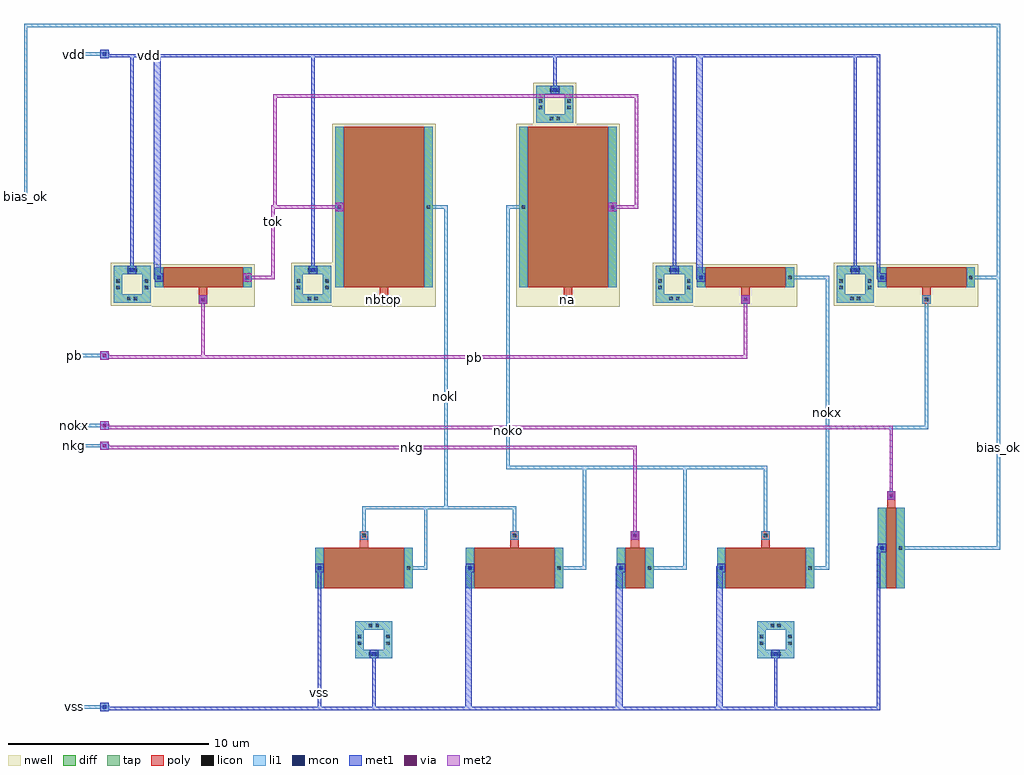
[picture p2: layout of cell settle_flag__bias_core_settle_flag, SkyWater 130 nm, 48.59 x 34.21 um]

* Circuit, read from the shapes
.subckt settle_flag__bias_core_settle_flag bias_ok na nbtop nkg nokl noko nokx pb tok vdd vss
XM1 nokl nokl vss vss sky130_fd_pr__nfet_01v8 w=2 l=4
XM2 noko nokl vss vss sky130_fd_pr__nfet_01v8 w=2 l=4
XM3 noko nkg vss vss sky130_fd_pr__nfet_01v8 w=2 l=1
XM4 nokx noko vss vss sky130_fd_pr__nfet_01v8 w=2 l=4
XM5 bias_ok nokx vss vss sky130_fd_pr__nfet_01v8 w=4 l=0.5
XM6 tok pb vdd vdd sky130_fd_pr__pfet_01v8 w=1 l=4
XM7 nokl nbtop tok vdd sky130_fd_pr__pfet_01v8 w=8 l=4
XM8 tok na noko vdd sky130_fd_pr__pfet_01v8 w=8 l=4
XM9 nokx pb vdd vdd sky130_fd_pr__pfet_01v8 w=1 l=4
XM10 bias_ok nokx vdd vdd sky130_fd_pr__pfet_01v8 w=1 l=4
.ends

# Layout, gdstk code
from math import pi, radians
import gdstk
lib = gdstk.Library(unit=1e-6, precision=1e-09)
def R(c, l, rs):  # rectangles x0, y0, x1, y1
    for r in rs: c.add(gdstk.rectangle(r[:2], r[2:], *l))
def P(c, l, *ps):  # polygons
    for p in ps: c.add(gdstk.Polygon(p, *l))
nwell = (64, 20)
diff = (65, 20)
tap = (65, 44)
poly = (66, 20)
licon = (66, 44)
li1 = (67, 20)
mcon = (67, 44)
met1 = (68, 20)
via = (68, 44)
met2 = (69, 20)

stub_bias_ok__promo_stub = lib.new_cell('stub_bias_ok__promo_stub_v')
R(stub_bias_ok__promo_stub, li1, [(0,0,0.17,1.5)])

stub_nkg__promo_stub_1 = lib.new_cell('stub_nkg__promo_stub$1')
R(stub_nkg__promo_stub_1, li1, [(0,0,1.5,0.17)])

stub_nokx__promo_stub = lib.new_cell('stub_nokx__promo_stub')
R(stub_nokx__promo_stub, li1, [(0,0,1.5,0.17)])

stub_pb__promo_stub_1 = lib.new_cell('stub_pb__promo_stub$1')
R(stub_pb__promo_stub_1, li1, [(0,0,1.5,0.17)])

stub_vss__promo_stub_3 = lib.new_cell('stub_vss__promo_stub$3')
R(stub_vss__promo_stub_3, li1, [(0,0,1.5,0.17)])

stub_vdd__promo_stub_2 = lib.new_cell('stub_vdd__promo_stub$2')
R(stub_vdd__promo_stub_2, li1, [(0,0,1.5,0.17)])

guard_ring_6_1 = lib.new_cell('guard_ring$6$1')
P(guard_ring_6_1, tap, [(0,0),(0,1.42),(0.42,1.42),(0.42,0.42),(1.42,0.42),(1.42,1.42),(0,1.42),(0,1.84),(1.84,1.84),(1.84,0)])
R(guard_ring_6_1, licon, [(0.67,0.125,0.84,0.295), (1,0.125,1.17,0.295), (0.125,0.67,0.295,0.84), (1.545,0.67,1.715,0.84), (0.125,1,0.295,1.17), (1.545,1,1.715,1.17), (0.67,1.545,0.84,1.715), (1,1.545,1.17,1.715)])
P(guard_ring_6_1, li1, [(0,0),(0,1.42),(0.42,1.42),(0.42,0.42),(1.42,0.42),(1.42,1.42),(0,1.42),(0,1.84),(1.84,1.84),(1.84,0)])

pst2__pst2 = lib.new_cell('pst2__pst2')
pst2__pst2.add(gdstk.Reference(guard_ring_6_1, (0,0)))

guard_ring_5_1 = lib.new_cell('guard_ring$5$1')
P(guard_ring_5_1, tap, [(0,0),(0,1.42),(0.42,1.42),(0.42,0.42),(1.42,0.42),(1.42,1.42),(0,1.42),(0,1.84),(1.84,1.84),(1.84,0)])
R(guard_ring_5_1, licon, [(0.67,0.125,0.84,0.295), (1,0.125,1.17,0.295), (0.125,0.67,0.295,0.84), (1.545,0.67,1.715,0.84), (0.125,1,0.295,1.17), (1.545,1,1.715,1.17), (0.67,1.545,0.84,1.715), (1,1.545,1.17,1.715)])
P(guard_ring_5_1, li1, [(0,0),(0,1.42),(0.42,1.42),(0.42,0.42),(1.42,0.42),(1.42,1.42),(0,1.42),(0,1.84),(1.84,1.84),(1.84,0)])

pst1__pst1 = lib.new_cell('pst1__pst1')
pst1__pst1.add(gdstk.Reference(guard_ring_5_1, (0,0)))

guard_ring_4_1 = lib.new_cell('guard_ring$4$1')
R(guard_ring_4_1, nwell, [(-0.15,-0.15,1.99,1.99)])
P(guard_ring_4_1, tap, [(0,0),(0,1.42),(0.42,1.42),(0.42,0.42),(1.42,0.42),(1.42,1.42),(0,1.42),(0,1.84),(1.84,1.84),(1.84,0)])
R(guard_ring_4_1, licon, [(0.67,0.125,0.84,0.295), (1,0.125,1.17,0.295), (0.125,0.67,0.295,0.84), (1.545,0.67,1.715,0.84), (0.125,1,0.295,1.17), (1.545,1,1.715,1.17), (0.67,1.545,0.84,1.715), (1,1.545,1.17,1.715)])
P(guard_ring_4_1, li1, [(0,0),(0,1.42),(0.42,1.42),(0.42,0.42),(1.42,0.42),(1.42,1.42),(0,1.42),(0,1.84),(1.84,1.84),(1.84,0)])

nwt_mo1p__nwt_mo1p = lib.new_cell('nwt_mo1p__nwt_mo1p')
nwt_mo1p__nwt_mo1p.add(gdstk.Reference(guard_ring_4_1, (0,0)))

guard_ring_3_1 = lib.new_cell('guard_ring$3$1')
R(guard_ring_3_1, nwell, [(-0.15,-0.15,1.99,1.99)])
P(guard_ring_3_1, tap, [(0,0),(0,1.42),(0.42,1.42),(0.42,0.42),(1.42,0.42),(1.42,1.42),(0,1.42),(0,1.84),(1.84,1.84),(1.84,0)])
R(guard_ring_3_1, licon, [(0.67,0.125,0.84,0.295), (1,0.125,1.17,0.295), (0.125,0.67,0.295,0.84), (1.545,0.67,1.715,0.84), (0.125,1,0.295,1.17), (1.545,1,1.715,1.17), (0.67,1.545,0.84,1.715), (1,1.545,1.17,1.715)])
P(guard_ring_3_1, li1, [(0,0),(0,1.42),(0.42,1.42),(0.42,0.42),(1.42,0.42),(1.42,1.42),(0,1.42),(0,1.84),(1.84,1.84),(1.84,0)])

nwt_mok2p__nwt_mok2p = lib.new_cell('nwt_mok2p__nwt_mok2p')
nwt_mok2p__nwt_mok2p.add(gdstk.Reference(guard_ring_3_1, (0,0)))

guard_ring_2_1 = lib.new_cell('guard_ring$2$1')
R(guard_ring_2_1, nwell, [(-0.15,-0.15,1.99,1.99)])
P(guard_ring_2_1, tap, [(0,0),(0,1.42),(0.42,1.42),(0.42,0.42),(1.42,0.42),(1.42,1.42),(0,1.42),(0,1.84),(1.84,1.84),(1.84,0)])
R(guard_ring_2_1, licon, [(0.67,0.125,0.84,0.295), (1,0.125,1.17,0.295), (0.125,0.67,0.295,0.84), (1.545,0.67,1.715,0.84), (0.125,1,0.295,1.17), (1.545,1,1.715,1.17), (0.67,1.545,0.84,1.715), (1,1.545,1.17,1.715)])
P(guard_ring_2_1, li1, [(0,0),(0,1.42),(0.42,1.42),(0.42,0.42),(1.42,0.42),(1.42,1.42),(0,1.42),(0,1.84),(1.84,1.84),(1.84,0)])

nwt_moka__nwt_moka = lib.new_cell('nwt_moka__nwt_moka')
nwt_moka__nwt_moka.add(gdstk.Reference(guard_ring_2_1, (0,0)))

guard_ring_1_2 = lib.new_cell('guard_ring$1$2')
R(guard_ring_1_2, nwell, [(-0.15,-0.15,1.99,1.99)])
P(guard_ring_1_2, tap, [(0,0),(0,1.42),(0.42,1.42),(0.42,0.42),(1.42,0.42),(1.42,1.42),(0,1.42),(0,1.84),(1.84,1.84),(1.84,0)])
R(guard_ring_1_2, licon, [(0.67,0.125,0.84,0.295), (1,0.125,1.17,0.295), (0.125,0.67,0.295,0.84), (1.545,0.67,1.715,0.84), (0.125,1,0.295,1.17), (1.545,1,1.715,1.17), (0.67,1.545,0.84,1.715), (1,1.545,1.17,1.715)])
P(guard_ring_1_2, li1, [(0,0),(0,1.42),(0.42,1.42),(0.42,0.42),(1.42,0.42),(1.42,1.42),(0,1.42),(0,1.84),(1.84,1.84),(1.84,0)])

nwt_mokb__nwt_mokb = lib.new_cell('nwt_mokb__nwt_mokb')
nwt_mokb__nwt_mokb.add(gdstk.Reference(guard_ring_1_2, (0,0)))

guard_ring_12 = lib.new_cell('guard_ring$12')
R(guard_ring_12, nwell, [(-0.15,-0.15,1.99,1.99)])
P(guard_ring_12, tap, [(0,0),(0,1.42),(0.42,1.42),(0.42,0.42),(1.42,0.42),(1.42,1.42),(0,1.42),(0,1.84),(1.84,1.84),(1.84,0)])
R(guard_ring_12, licon, [(0.67,0.125,0.84,0.295), (1,0.125,1.17,0.295), (0.125,0.67,0.295,0.84), (1.545,0.67,1.715,0.84), (0.125,1,0.295,1.17), (1.545,1,1.715,1.17), (0.67,1.545,0.84,1.715), (1,1.545,1.17,1.715)])
P(guard_ring_12, li1, [(0,0),(0,1.42),(0.42,1.42),(0.42,0.42),(1.42,0.42),(1.42,1.42),(0,1.42),(0,1.84),(1.84,1.84),(1.84,0)])

nwt_mpok__nwt_mpok = lib.new_cell('nwt_mpok__nwt_mpok')
nwt_mpok__nwt_mpok.add(gdstk.Reference(guard_ring_12, (0,0)))

mos_array_9_1 = lib.new_cell('mos_array$9$1')
R(mos_array_9_1, diff, [(0,0,1.34,4)])
R(mos_array_9_1, poly, [(0.42,0,0.92,4), (0.46,4,0.88,4.82)])
R(mos_array_9_1, licon, [(0.125,1.915,0.295,2.085), (1.045,1.915,1.215,2.085), (0.585,4.525,0.755,4.695)])
R(mos_array_9_1, li1, [(0,0,0.42,4), (0.92,0,1.34,4), (0.46,4.4,0.88,4.82)])

mo1n__mo1n_nfet = lib.new_cell('mo1n__mo1n_nfet')
mo1n__mo1n_nfet.add(gdstk.Reference(mos_array_9_1, (0,0)))

mos_array_8_2 = lib.new_cell('mos_array$8$2')
R(mos_array_8_2, diff, [(0,0,4.84,2)])
R(mos_array_8_2, poly, [(0.42,0,4.42,2), (2.21,2,2.63,2.82)])
R(mos_array_8_2, licon, [(0.125,0.915,0.295,1.085), (4.545,0.915,4.715,1.085), (2.335,2.525,2.505,2.695)])
R(mos_array_8_2, li1, [(0,0,0.42,2), (4.42,0,4.84,2), (2.21,2.4,2.63,2.82)])

mok2__mok2_nfet = lib.new_cell('mok2__mok2_nfet')
mok2__mok2_nfet.add(gdstk.Reference(mos_array_8_2, (0,0)))

mos_array_7_2 = lib.new_cell('mos_array$7$2')
R(mos_array_7_2, diff, [(0,0,1.84,2)])
R(mos_array_7_2, poly, [(0.42,0,1.42,2), (0.71,2,1.13,2.82)])
R(mos_array_7_2, licon, [(0.125,0.915,0.295,1.085), (1.545,0.915,1.715,1.085), (0.835,2.525,1.005,2.695)])
R(mos_array_7_2, li1, [(0,0,0.42,2), (1.42,0,1.84,2), (0.71,2.4,1.13,2.82)])

mokc__mokc_nfet = lib.new_cell('mokc__mokc_nfet')
mokc__mokc_nfet.add(gdstk.Reference(mos_array_7_2, (0,0)))

mos_array_6_2 = lib.new_cell('mos_array$6$2')
R(mos_array_6_2, diff, [(0,0,4.84,2)])
R(mos_array_6_2, poly, [(0.42,0,4.42,2), (2.21,2,2.63,2.82)])
R(mos_array_6_2, licon, [(0.125,0.915,0.295,1.085), (4.545,0.915,4.715,1.085), (2.335,2.525,2.505,2.695)])
R(mos_array_6_2, li1, [(0,0,0.42,2), (4.42,0,4.84,2), (2.21,2.4,2.63,2.82)])

mol2__mol2_nfet = lib.new_cell('mol2__mol2_nfet')
mol2__mol2_nfet.add(gdstk.Reference(mos_array_6_2, (0,0)))

mos_array_5_2 = lib.new_cell('mos_array$5$2')
R(mos_array_5_2, diff, [(0,0,4.84,2)])
R(mos_array_5_2, poly, [(0.42,0,4.42,2), (2.21,2,2.63,2.82)])
R(mos_array_5_2, licon, [(0.125,0.915,0.295,1.085), (4.545,0.915,4.715,1.085), (2.335,2.525,2.505,2.695)])
R(mos_array_5_2, li1, [(0,0,0.42,2), (4.42,0,4.84,2), (2.21,2.4,2.63,2.82)])

mol1__mol1_nfet = lib.new_cell('mol1__mol1_nfet')
mol1__mol1_nfet.add(gdstk.Reference(mos_array_5_2, (0,0)))

mos_array_4_2 = lib.new_cell('mos_array$4$2')
R(mos_array_4_2, nwell, [(-0.15,-0.15,4.99,1.97)])
R(mos_array_4_2, diff, [(0,0,4.84,1)])
R(mos_array_4_2, poly, [(0.42,0,4.42,1), (2.21,1,2.63,1.82)])
R(mos_array_4_2, licon, [(0.125,0.415,0.295,0.585), (4.545,0.415,4.715,0.585), (2.335,1.525,2.505,1.695)])
R(mos_array_4_2, li1, [(0,0,0.42,1), (4.42,0,4.84,1), (2.21,1.4,2.63,1.82)])

mo1p__mo1p_pfet = lib.new_cell('mo1p__mo1p_pfet')
mo1p__mo1p_pfet.add(gdstk.Reference(mos_array_4_2, (0,0)))

mos_array_3_2 = lib.new_cell('mos_array$3$2')
R(mos_array_3_2, nwell, [(-0.15,-0.15,4.99,1.97)])
R(mos_array_3_2, diff, [(0,0,4.84,1)])
R(mos_array_3_2, poly, [(0.42,0,4.42,1), (2.21,1,2.63,1.82)])
R(mos_array_3_2, licon, [(0.125,0.415,0.295,0.585), (4.545,0.415,4.715,0.585), (2.335,1.525,2.505,1.695)])
R(mos_array_3_2, li1, [(0,0,0.42,1), (4.42,0,4.84,1), (2.21,1.4,2.63,1.82)])

mok2p__mok2p_pfet = lib.new_cell('mok2p__mok2p_pfet')
mok2p__mok2p_pfet.add(gdstk.Reference(mos_array_3_2, (0,0)))

mos_array_2_2 = lib.new_cell('mos_array$2$2')
R(mos_array_2_2, nwell, [(-0.15,-0.15,4.99,8.97)])
R(mos_array_2_2, diff, [(0,0,4.84,8)])
R(mos_array_2_2, poly, [(0.42,0,4.42,8), (2.21,8,2.63,8.82)])
R(mos_array_2_2, licon, [(0.125,3.915,0.295,4.085), (4.545,3.915,4.715,4.085), (2.335,8.525,2.505,8.695)])
R(mos_array_2_2, li1, [(0,0,0.42,8), (4.42,0,4.84,8), (2.21,8.4,2.63,8.82)])

moka__moka_pfet = lib.new_cell('moka__moka_pfet')
moka__moka_pfet.add(gdstk.Reference(mos_array_2_2, (0,0)))

mos_array_1_2 = lib.new_cell('mos_array$1$2')
R(mos_array_1_2, nwell, [(-0.15,-0.15,4.99,8.97)])
R(mos_array_1_2, diff, [(0,0,4.84,8)])
R(mos_array_1_2, poly, [(0.42,0,4.42,8), (2.21,8,2.63,8.82)])
R(mos_array_1_2, licon, [(0.125,3.915,0.295,4.085), (4.545,3.915,4.715,4.085), (2.335,8.525,2.505,8.695)])
R(mos_array_1_2, li1, [(0,0,0.42,8), (4.42,0,4.84,8), (2.21,8.4,2.63,8.82)])

mokb__mokb_pfet = lib.new_cell('mokb__mokb_pfet')
mokb__mokb_pfet.add(gdstk.Reference(mos_array_1_2, (0,0)))

mos_array_16 = lib.new_cell('mos_array$16')
R(mos_array_16, nwell, [(-0.15,-0.15,4.99,1.97)])
R(mos_array_16, diff, [(0,0,4.84,1)])
R(mos_array_16, poly, [(0.42,0,4.42,1), (2.21,1,2.63,1.82)])
R(mos_array_16, licon, [(0.125,0.415,0.295,0.585), (4.545,0.415,4.715,0.585), (2.335,1.525,2.505,1.695)])
R(mos_array_16, li1, [(0,0,0.42,1), (4.42,0,4.84,1), (2.21,1.4,2.63,1.82)])

mpok__mpok_pfet = lib.new_cell('mpok__mpok_pfet')
mpok__mpok_pfet.add(gdstk.Reference(mos_array_16, (0,0)))

settle_flag__bias_core_s = lib.new_cell('settle_flag__bias_core_settle_flag')
R(settle_flag__bias_core_s, li1, [(-2.71,-6.125,-2.29,-5.705), (10.71,-3.5,11.13,-3.08), (10.71,-3.5,11.13,-3.08), (30.71,-3.5,31.13,-3.08), (30.71,-3.5,31.13,-3.08), (8,0.79,8.42,1.21), (8,0.79,8.42,1.21), (15.5,0.79,15.92,1.21), (15.5,0.79,15.92,1.21), (23,0.79,23.42,1.21), (23,0.79,23.42,1.21), (28,0.79,28.42,1.21), (28,0.79,28.42,1.21), (36,1.79,36.42,2.21), (23.71,2.4,24.13,2.82), (10.21,2.61,10.63,2.78), (10.21,2.61,10.63,2.78), (17.71,2.61,18.13,2.78), (17.71,2.61,18.13,2.78), (30.21,2.61,30.63,2.78), (36.46,4.4,36.88,4.82), (36.46,4.61,36.88,4.78), (36.46,4.61,36.88,4.78), (-2.71,6.875,-2.29,7.295), (-2.71,7.875,-2.29,8.295), (-2.71,11.375,-2.29,11.795), (2.21,14.15,2.63,14.57), (2.21,14.15,2.63,14.57), (29.21,14.15,29.63,14.57), (38.21,14.19,38.63,14.36), (0,15.26,0.42,15.68), (0,15.26,0.42,15.68), (4.42,15.26,4.84,15.68), (27,15.26,27.42,15.68), (27,15.26,27.42,15.68), (36,15.26,36.42,15.68), (-1.33,15.62,-0.91,16.04), (-1.33,15.62,-0.91,16.04), (7.67,15.62,8.09,16.04), (7.67,15.62,8.09,16.04), (25.67,15.62,26.09,16.04), (25.67,15.62,26.09,16.04), (34.67,15.62,35.09,16.04), (34.67,15.62,35.09,16.04), (9,18.76,9.42,19.18), (9,18.76,9.42,19.18), (22.58,18.76,23,19.18), (19.72,24.59,20.14,25.01), (19.72,24.59,20.14,25.01), (-2.71,26.375,-2.29,26.795)])
R(settle_flag__bias_core_s, mcon, [(-2.585,-6,-2.415,-5.83), (10.835,-3.375,11.005,-3.205), (10.835,-3.375,11.005,-3.205), (30.835,-3.375,31.005,-3.205), (30.835,-3.375,31.005,-3.205), (8.125,0.915,8.295,1.085), (8.125,0.915,8.295,1.085), (15.625,0.915,15.795,1.085), (15.625,0.915,15.795,1.085), (23.125,0.915,23.295,1.085), (23.125,0.915,23.295,1.085), (28.125,0.915,28.295,1.085), (28.125,0.915,28.295,1.085), (36.125,1.915,36.295,2.085), (23.835,2.525,24.005,2.695), (36.585,4.525,36.755,4.695), (-2.585,7,-2.415,7.17), (-2.585,8,-2.415,8.17), (-2.585,11.5,-2.415,11.67), (2.335,14.275,2.505,14.445), (2.335,14.275,2.505,14.445), (29.335,14.275,29.505,14.445), (0.125,15.385,0.295,15.555), (0.125,15.385,0.295,15.555), (4.545,15.385,4.715,15.555), (27.125,15.385,27.295,15.555), (27.125,15.385,27.295,15.555), (36.125,15.385,36.295,15.555), (-1.205,15.745,-1.035,15.915), (-1.205,15.745,-1.035,15.915), (7.795,15.745,7.965,15.915), (7.795,15.745,7.965,15.915), (25.795,15.745,25.965,15.915), (25.795,15.745,25.965,15.915), (34.795,15.745,34.965,15.915), (34.795,15.745,34.965,15.915), (9.125,18.885,9.295,19.055), (9.125,18.885,9.295,19.055), (22.705,18.885,22.875,19.055), (19.845,24.715,20.015,24.885), (19.845,24.715,20.015,24.885), (-2.585,26.5,-2.415,26.67)])
R(settle_flag__bias_core_s, met1, [(-2.71,-6.125,-2.29,-5.705), (10.71,-3.5,11.13,-3.08), (10.71,-3.5,11.13,-3.08), (30.71,-3.5,31.13,-3.08), (30.71,-3.5,31.13,-3.08), (8,0.79,8.42,1.21), (8,0.79,8.42,1.21), (15.5,0.79,15.92,1.21), (15.5,0.79,15.92,1.21), (23,0.79,23.42,1.21), (23,0.79,23.42,1.21), (28,0.79,28.42,1.21), (28,0.79,28.42,1.21), (36,1.79,36.42,2.21), (23.71,2.4,24.13,2.82), (23.71,2.4,24.13,2.82), (36.46,4.4,36.88,4.82), (36.46,4.4,36.88,4.82), (-2.71,6.875,-2.29,7.295), (-2.71,6.875,-2.29,7.295), (-2.71,7.875,-2.29,8.295), (-2.71,7.875,-2.29,8.295), (-2.71,11.375,-2.29,11.795), (-2.71,11.375,-2.29,11.795), (2.21,14.15,2.63,14.57), (2.21,14.15,2.63,14.57), (2.21,14.15,2.63,14.57), (2.21,14.15,2.63,14.57), (29.21,14.15,29.63,14.57), (29.21,14.15,29.63,14.57), (0,15.26,0.42,15.68), (0,15.26,0.42,15.68), (4.42,15.26,4.84,15.68), (4.42,15.26,4.84,15.68), (27,15.26,27.42,15.68), (27,15.26,27.42,15.68), (36,15.26,36.42,15.68), (-1.33,15.62,-0.91,16.04), (-1.33,15.62,-0.91,16.04), (7.67,15.62,8.09,16.04), (7.67,15.62,8.09,16.04), (25.67,15.62,26.09,16.04), (25.67,15.62,26.09,16.04), (34.67,15.62,35.09,16.04), (34.67,15.62,35.09,16.04), (9,18.76,9.42,19.18), (9,18.76,9.42,19.18), (9,18.76,9.42,19.18), (9,18.76,9.42,19.18), (22.58,18.76,23,19.18), (22.58,18.76,23,19.18), (19.72,24.59,20.14,25.01), (19.72,24.59,20.14,25.01), (-2.71,26.375,-2.29,26.795)])
R(settle_flag__bias_core_s, via, [(23.845,2.535,23.995,2.685), (36.595,4.535,36.745,4.685), (-2.575,7.01,-2.425,7.16), (-2.575,8.01,-2.425,8.16), (-2.575,11.51,-2.425,11.66), (2.345,14.285,2.495,14.435), (2.345,14.285,2.495,14.435), (29.345,14.285,29.495,14.435), (4.555,15.395,4.705,15.545), (9.135,18.895,9.285,19.045), (9.135,18.895,9.285,19.045), (22.715,18.895,22.865,19.045)])
R(settle_flag__bias_core_s, met2, [(23.71,2.4,24.13,2.82), (36.46,4.4,36.88,4.82), (-2.71,6.875,-2.29,7.295), (-2.71,7.875,-2.29,8.295), (-2.71,11.375,-2.29,11.795), (2.21,14.15,2.63,14.57), (2.21,14.15,2.63,14.57), (29.21,14.15,29.63,14.57), (4.42,15.26,4.84,15.68), (9,18.76,9.42,19.18), (9,18.76,9.42,19.18), (22.58,18.76,23,19.18)])
settle_flag__bias_core_s.add(gdstk.FlexPath([(13.63,18.97),(14.5,18.97),(14.5,4),(17.92,4),(17.92,2.61)], 0.17, ends="flush", simple_path=True, layer=67, datatype=20))  # li1
settle_flag__bias_core_s.add(gdstk.FlexPath([(17.92,2.61),(17.92,4),(10.42,4),(10.42,2.61)], 0.17, ends="flush", simple_path=True, layer=67, datatype=20))  # li1
settle_flag__bias_core_s.add(gdstk.FlexPath([(10.42,2.61),(10.42,4),(13.5,4),(13.5,1),(12.63,1)], 0.17, ends="flush", simple_path=True, layer=67, datatype=20))  # li1
settle_flag__bias_core_s.add(gdstk.FlexPath([(18.37,18.97),(17.6,18.97),(17.6,6),(21.4,6),(21.4,1),(20.13,1)], 0.17, ends="flush", simple_path=True, layer=67, datatype=20))  # li1
settle_flag__bias_core_s.add(gdstk.FlexPath([(20.13,1),(21.4,1),(21.4,6),(26.4,6),(26.4,1),(24.63,1)], 0.17, ends="flush", simple_path=True, layer=67, datatype=20))  # li1
settle_flag__bias_core_s.add(gdstk.FlexPath([(24.63,1),(26.4,1),(26.4,6),(30.42,6),(30.42,2.61)], 0.17, ends="flush", simple_path=True, layer=67, datatype=20))  # li1
settle_flag__bias_core_s.add(gdstk.FlexPath([(31.63,15.47),(33.5,15.47),(33.5,1),(32.63,1)], 0.17, ends="flush", simple_path=True, layer=67, datatype=20))  # li1
settle_flag__bias_core_s.add(gdstk.FlexPath([(32.63,1),(33.5,1),(33.5,8),(36.67,8),(36.67,4.61)], 0.17, ends="flush", simple_path=True, layer=67, datatype=20))  # li1
settle_flag__bias_core_s.add(gdstk.FlexPath([(36.67,4.61),(36.67,8),(38.42,8),(38.42,14.36)], 0.17, ends="flush", simple_path=True, layer=67, datatype=20))  # li1
settle_flag__bias_core_s.add(gdstk.FlexPath([(40.63,15.47),(42,15.47),(42,2),(37.13,2)], 0.17, ends="flush", simple_path=True, layer=67, datatype=20))  # li1
settle_flag__bias_core_s.add(gdstk.FlexPath([(40.63,15.47),(42,15.47),(42,28),(-6.415,28),(-6.415,21)], 0.17, ends="flush", simple_path=True, layer=67, datatype=20))  # li1
settle_flag__bias_core_s.add(gdstk.FlexPath([(-1.12,15.83),(-1.12,26.5),(0.04,26.5),(0.04,15.47),(0.21,15.47)], 0.17, ends="flush", simple_path=True, layer=68, datatype=20))  # met1
settle_flag__bias_core_s.add(gdstk.FlexPath([(0.21,15.47),(0.21,26.5),(7.88,26.5),(7.88,15.83)], 0.17, ends="flush", simple_path=True, layer=68, datatype=20))  # met1
settle_flag__bias_core_s.add(gdstk.FlexPath([(7.88,15.83),(7.88,26.5),(19.93,26.5),(19.93,24.8)], 0.17, ends="flush", simple_path=True, layer=68, datatype=20))  # met1
settle_flag__bias_core_s.add(gdstk.FlexPath([(19.93,24.8),(19.93,26.5),(25.88,26.5),(25.88,15.83)], 0.17, ends="flush", simple_path=True, layer=68, datatype=20))  # met1
settle_flag__bias_core_s.add(gdstk.FlexPath([(25.88,15.83),(25.88,26.5),(27.04,26.5),(27.04,15.47),(27.21,15.47)], 0.17, ends="flush", simple_path=True, layer=68, datatype=20))  # met1
settle_flag__bias_core_s.add(gdstk.FlexPath([(27.21,15.47),(27.21,26.5),(34.88,26.5),(34.88,15.83)], 0.17, ends="flush", simple_path=True, layer=68, datatype=20))  # met1
settle_flag__bias_core_s.add(gdstk.FlexPath([(34.88,15.83),(34.88,26.5),(36.04,26.5),(36.04,15.47),(36.21,15.47)], 0.17, ends="flush", simple_path=True, layer=68, datatype=20))  # met1
settle_flag__bias_core_s.add(gdstk.FlexPath([(-1.12,15.83),(-1.12,26.5),(-2.33,26.5),(-2.33,26.585),(-2.5,26.585)], 0.17, ends="flush", simple_path=True, layer=68, datatype=20))  # met1
settle_flag__bias_core_s.add(gdstk.FlexPath([(8.21,1),(8.21,-6),(10.92,-6),(10.92,-3.29)], 0.17, ends="flush", simple_path=True, layer=68, datatype=20))  # met1
settle_flag__bias_core_s.add(gdstk.FlexPath([(10.92,-3.29),(10.92,-6),(15.54,-6),(15.54,1),(15.71,1)], 0.17, ends="flush", simple_path=True, layer=68, datatype=20))  # met1
settle_flag__bias_core_s.add(gdstk.FlexPath([(15.71,1),(15.71,-6),(23.04,-6),(23.04,1),(23.21,1)], 0.17, ends="flush", simple_path=True, layer=68, datatype=20))  # met1
settle_flag__bias_core_s.add(gdstk.FlexPath([(23.21,1),(23.21,-6),(28.04,-6),(28.04,1),(28.21,1)], 0.17, ends="flush", simple_path=True, layer=68, datatype=20))  # met1
settle_flag__bias_core_s.add(gdstk.FlexPath([(28.21,1),(28.21,-6),(30.92,-6),(30.92,-3.29)], 0.17, ends="flush", simple_path=True, layer=68, datatype=20))  # met1
settle_flag__bias_core_s.add(gdstk.FlexPath([(30.92,-3.29),(30.92,-6),(36.04,-6),(36.04,2),(36.21,2)], 0.17, ends="flush", simple_path=True, layer=68, datatype=20))  # met1
settle_flag__bias_core_s.add(gdstk.FlexPath([(8.21,1),(8.21,-6),(-2.33,-6),(-2.33,-5.915),(-2.5,-5.915)], 0.17, ends="flush", simple_path=True, layer=68, datatype=20))  # met1
settle_flag__bias_core_s.add(gdstk.FlexPath([(4.63,15.47),(5.9,15.47),(5.9,18.97),(9.21,18.97)], 0.17, ends="flush", simple_path=True, layer=69, datatype=20))  # met2
settle_flag__bias_core_s.add(gdstk.FlexPath([(9.21,18.97),(6,18.97),(6,24.5),(24,24.5),(24,18.97),(22.79,18.97)], 0.17, ends="flush", simple_path=True, layer=69, datatype=20))  # met2
settle_flag__bias_core_s.add(gdstk.FlexPath([(2.42,14.36),(2.42,11.5),(29.42,11.5),(29.42,14.36)], 0.17, ends="flush", simple_path=True, layer=69, datatype=20))  # met2
settle_flag__bias_core_s.add(gdstk.FlexPath([(2.42,14.36),(2.42,11.5),(-2.33,11.5),(-2.33,11.585),(-2.5,11.585)], 0.17, ends="flush", simple_path=True, layer=69, datatype=20))  # met2
settle_flag__bias_core_s.add(gdstk.FlexPath([(36.67,4.61),(36.67,8),(-2.33,8),(-2.33,8.085),(-2.5,8.085)], 0.17, ends="flush", simple_path=True, layer=69, datatype=20))  # met2
settle_flag__bias_core_s.add(gdstk.FlexPath([(23.92,2.61),(23.92,7),(-2.33,7),(-2.33,7.085),(-2.5,7.085)], 0.17, ends="flush", simple_path=True, layer=69, datatype=20))  # met2
settle_flag__bias_core_s.add(gdstk.Reference(stub_bias_ok__promo_stub, (-6.5,19.5)))
settle_flag__bias_core_s.add(gdstk.Reference(stub_nkg__promo_stub_1, (-4,7)))
settle_flag__bias_core_s.add(gdstk.Reference(stub_nokx__promo_stub, (-4,8)))
settle_flag__bias_core_s.add(gdstk.Reference(stub_pb__promo_stub_1, (-4,11.5)))
settle_flag__bias_core_s.add(gdstk.Reference(stub_vss__promo_stub_3, (-4,-6)))
settle_flag__bias_core_s.add(gdstk.Reference(stub_vdd__promo_stub_2, (-4,26.5)))
settle_flag__bias_core_s.add(gdstk.Reference(pst2__pst2, (30,-3.5)))
settle_flag__bias_core_s.add(gdstk.Reference(pst1__pst1, (10,-3.5)))
settle_flag__bias_core_s.add(gdstk.Reference(nwt_mo1p__nwt_mo1p, (33.96,14.2)))
settle_flag__bias_core_s.add(gdstk.Reference(nwt_mok2p__nwt_mok2p, (24.96,14.2)))
settle_flag__bias_core_s.add(gdstk.Reference(nwt_moka__nwt_moka, (19.01,23.17)))
settle_flag__bias_core_s.add(gdstk.Reference(nwt_mokb__nwt_mokb, (6.96,14.2)))
settle_flag__bias_core_s.add(gdstk.Reference(nwt_mpok__nwt_mpok, (-2.04,14.2)))
settle_flag__bias_core_s.add(gdstk.Reference(mo1n__mo1n_nfet, (36,0)))
settle_flag__bias_core_s.add(gdstk.Reference(mok2__mok2_nfet, (28,0)))
settle_flag__bias_core_s.add(gdstk.Reference(mokc__mokc_nfet, (23,0)))
settle_flag__bias_core_s.add(gdstk.Reference(mol2__mol2_nfet, (15.5,0)))
settle_flag__bias_core_s.add(gdstk.Reference(mol1__mol1_nfet, (8,0)))
settle_flag__bias_core_s.add(gdstk.Reference(mo1p__mo1p_pfet, (36,15.97), x_reflection=True))
settle_flag__bias_core_s.add(gdstk.Reference(mok2p__mok2p_pfet, (27,15.97), x_reflection=True))
settle_flag__bias_core_s.add(gdstk.Reference(moka__moka_pfet, (23,22.97), rotation=pi))
settle_flag__bias_core_s.add(gdstk.Reference(mokb__mokb_pfet, (9,22.97), x_reflection=True))
settle_flag__bias_core_s.add(gdstk.Reference(mpok__mpok_pfet, (0,15.97), x_reflection=True))
settle_flag__bias_core_s.add(gdstk.Label('vdd', (-0.275,26.5), layer=68, texttype=5))
settle_flag__bias_core_s.add(gdstk.Label('vss', (8.21,-5.21), layer=68, texttype=5))
settle_flag__bias_core_s.add(gdstk.Label('tok', (5.9,18.24), layer=69, texttype=5))
settle_flag__bias_core_s.add(gdstk.Label('pb', (15.92,11.5), layer=69, texttype=5))
settle_flag__bias_core_s.add(gdstk.Label('nkg', (12.862,7), layer=69, texttype=5))
settle_flag__bias_core_s.add(gdstk.Label('nokl', (14.5,9.515), layer=67, texttype=5))
settle_flag__bias_core_s.add(gdstk.Label('noko', (17.6,7.835), layer=67, texttype=5))
settle_flag__bias_core_s.add(gdstk.Label('nokx', (33.5,8.735), layer=67, texttype=5))
settle_flag__bias_core_s.add(gdstk.Label('bias_ok', (42,6.985), layer=67, texttype=5))
settle_flag__bias_core_s.add(gdstk.Label('na', (20.58,14.36), layer=67, texttype=5))
settle_flag__bias_core_s.add(gdstk.Label('nbtop', (11.42,14.36), layer=67, texttype=5))
settle_flag__bias_core_s.add(gdstk.Label('vdd', (-4,26.585), layer=67, texttype=5))
settle_flag__bias_core_s.add(gdstk.Label('vss', (-4,-5.915), layer=67, texttype=5))
settle_flag__bias_core_s.add(gdstk.Label('pb', (-4,11.585), layer=67, texttype=5))
settle_flag__bias_core_s.add(gdstk.Label('nokx', (-4,8.085), layer=67, texttype=5))
settle_flag__bias_core_s.add(gdstk.Label('nkg', (-4,7.085), layer=67, texttype=5))
settle_flag__bias_core_s.add(gdstk.Label('bias_ok', (-6.415,19.5), layer=67, texttype=5))

lib.write_gds('settle_flag__bias_core_settle_flag.gds')
